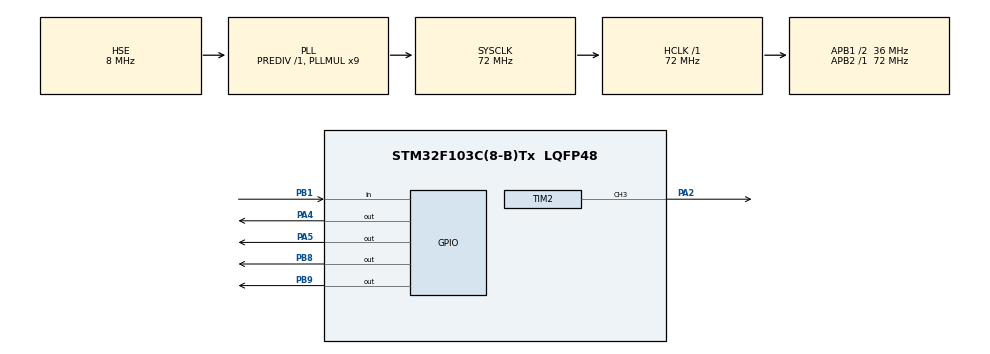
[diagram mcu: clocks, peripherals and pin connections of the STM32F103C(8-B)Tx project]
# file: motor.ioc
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Mcu.Family=STM32F1
Mcu.Name=STM32F103C(8-B)Tx
Mcu.Package=LQFP48
NVIC.PriorityGroup=NVIC_PRIORITYGROUP_4
PA13.Mode=Serial_Wire
PA13.Signal=SYS_JTMS-SWDIO
PA14.Mode=Serial_Wire
PA14.Signal=SYS_JTCK-SWCLK
PA2.Signal=S_TIM2_CH3
PA4.Signal=GPIO_Output
PA5.Signal=GPIO_Output
PB1.GPIO_PuPd=GPIO_PULLUP
PB1.Signal=GPIO_Input
PB8.GPIO_ModeDefaultOutputPP=GPIO_MODE_OUTPUT_OD
PB8.GPIO_PuPd=GPIO_NOPULL
PB8.Signal=GPIO_Output
PB9.GPIO_ModeDefaultOutputPP=GPIO_MODE_OUTPUT_OD
PB9.GPIO_PuPd=GPIO_NOPULL
PB9.Signal=GPIO_Output
PD0-OSC_IN.Mode=HSE-External-Oscillator
PD0-OSC_IN.Signal=RCC_OSC_IN
PD1-OSC_OUT.Mode=HSE-External-Oscillator
PD1-OSC_OUT.Signal=RCC_OSC_OUT
ProjectManager.HeapSize=0x200
ProjectManager.StackSize=0x400
ProjectManager.TargetToolchain=STM32CubeIDE
RCC.AHBFreq_Value=72000000
RCC.APB1CLKDivider=RCC_HCLK_DIV2
RCC.APB1Freq_Value=36000000
RCC.APB1TimFreq_Value=72000000
RCC.APB2Freq_Value=72000000
RCC.APB2TimFreq_Value=72000000
RCC.HCLKFreq_Value=72000000
RCC.PLLMUL=RCC_PLL_MUL9
RCC.PLLSourceVirtual=RCC_PLLSOURCE_HSE
RCC.SYSCLKFreq_VALUE=72000000
RCC.SYSCLKSource=RCC_SYSCLKSOURCE_PLLCLK
RCC.USBFreq_Value=72000000
SH.S_TIM2_CH3.0=TIM2_CH3,PWM Generation3 CH3
TIM2.Channel-PWM\ Generation3\ CH3=TIM_CHANNEL_3
TIM2.Period=100-1
TIM2.Prescaler=72-1
TIM2.Pulse-PWM\ Generation3\ CH3=20
VP_TIM2_VS_ClockSourceINT.Mode=Internal
board=custom

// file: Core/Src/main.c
/* USER CODE BEGIN Header */
/**
  ******************************************************************************
  * @file           : main.c
  * @brief          : Main program body
  ******************************************************************************
  * @attention
  *
  * Copyright (c) 2026 STMicroelectronics.
  * All rights reserved.
  *
  * This software is licensed under terms that can be found in the LICENSE file
  * in the root directory of this software component.
  * If no LICENSE file comes with this software, it is provided AS-IS.
  *
  ******************************************************************************
  */
/* USER CODE END Header */
#include "main.h"
#include "tim.h"
#include "gpio.h"

/* USER CODE BEGIN PV */
int16_t Speed = 0;
/* USER CODE END PV */

void SystemClock_Config(void);

/* USER CODE BEGIN 0 */
void SetSpeed(int8_t Speed)
{
	if(Speed >= 0)
	{
		HAL_GPIO_WritePin(GPIOA, GPIO_PIN_4, GPIO_PIN_SET);
		HAL_GPIO_WritePin(GPIOA, GPIO_PIN_5, GPIO_PIN_RESET);
		__HAL_TIM_SET_COMPARE(&htim2, TIM_CHANNEL_3, Speed);
	}
	else
	{
		HAL_GPIO_WritePin(GPIOA, GPIO_PIN_4, GPIO_PIN_RESET);
		HAL_GPIO_WritePin(GPIOA, GPIO_PIN_5, GPIO_PIN_SET);
		__HAL_TIM_SET_COMPARE(&htim2,TIM_CHANNEL_3, -Speed);
	}
}
/* USER CODE END 0 */

int main(void)
{

  /* MCU Configuration--------------------------------------------------------*/

  /* Reset of all peripherals, Initializes the Flash interface and the Systick. */
  HAL_Init();

  /* Configure the system clock */
  SystemClock_Config();

  /* Initialize all configured peripherals */
  MX_GPIO_Init();
  MX_TIM2_Init();

  /* Infinite loop */
  /* USER CODE BEGIN WHILE */
	OLED_Init();
	HAL_TIM_PWM_Start(&htim2, TIM_CHANNEL_3);
	OLED_Clear();
	OLED_ShowString(1, 1, "speed:");

  while (1)
  {
	  if(HAL_GPIO_ReadPin(GPIOB, GPIO_PIN_1) == GPIO_PIN_RESET)
	  {
		  HAL_Delay(20);
		  while(HAL_GPIO_ReadPin(GPIOB, GPIO_PIN_1) == GPIO_PIN_RESET);
		  HAL_Delay(20);
		  Speed += 1;
		  if (Speed > 2)
		  {
			  Speed = -2;
		  }
	  }
	  SetSpeed(Speed * 50);
	  OLED_ShowSignedNum(1, 7, Speed * 50, 6);
    /* USER CODE END WHILE */

  }
}

void SystemClock_Config(void)
{
  RCC_OscInitTypeDef RCC_OscInitStruct = {0};
  RCC_ClkInitTypeDef RCC_ClkInitStruct = {0};

  /** Initializes the RCC Oscillators according to the specified parameters
  * in the RCC_OscInitTypeDef structure.
  */
  RCC_OscInitStruct.OscillatorType = RCC_OSCILLATORTYPE_HSE;
  RCC_OscInitStruct.HSEState = RCC_HSE_ON;
  RCC_OscInitStruct.HSEPredivValue = RCC_HSE_PREDIV_DIV1;
  RCC_OscInitStruct.HSIState = RCC_HSI_ON;
  RCC_OscInitStruct.PLL.PLLState = RCC_PLL_ON;
  RCC_OscInitStruct.PLL.PLLSource = RCC_PLLSOURCE_HSE;
  RCC_OscInitStruct.PLL.PLLMUL = RCC_PLL_MUL9;
  if (HAL_RCC_OscConfig(&RCC_OscInitStruct) != HAL_OK)
  {
    Error_Handler();
  }

  /** Initializes the CPU, AHB and APB buses clocks
  */
  RCC_ClkInitStruct.ClockType = RCC_CLOCKTYPE_HCLK|RCC_CLOCKTYPE_SYSCLK
                              |RCC_CLOCKTYPE_PCLK1|RCC_CLOCKTYPE_PCLK2;
  RCC_ClkInitStruct.SYSCLKSource = RCC_SYSCLKSOURCE_PLLCLK;
  RCC_ClkInitStruct.AHBCLKDivider = RCC_SYSCLK_DIV1;
  RCC_ClkInitStruct.APB1CLKDivider = RCC_HCLK_DIV2;
  RCC_ClkInitStruct.APB2CLKDivider = RCC_HCLK_DIV1;

  if (HAL_RCC_ClockConfig(&RCC_ClkInitStruct, FLASH_LATENCY_2) != HAL_OK)
  {
    Error_Handler();
  }
}

void Error_Handler(void)
{
  __disable_irq();
  while (1)
  {
  }
}
